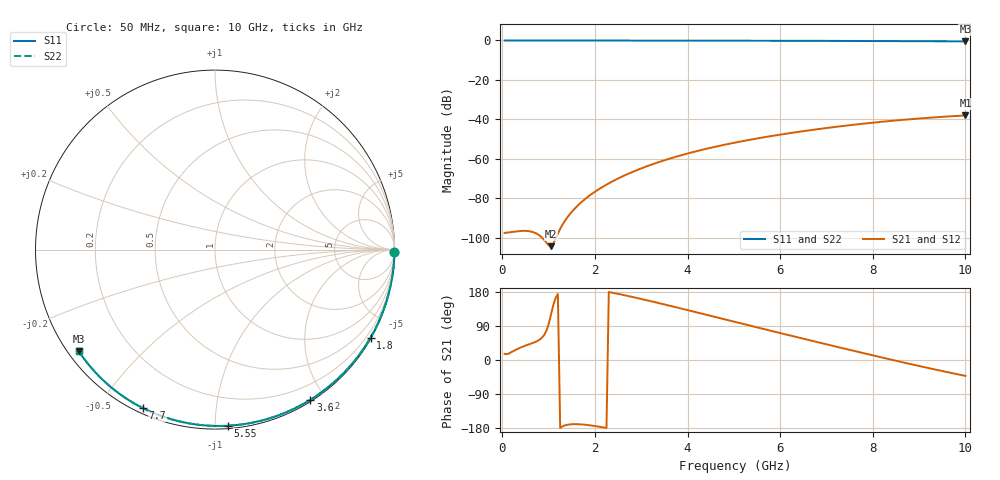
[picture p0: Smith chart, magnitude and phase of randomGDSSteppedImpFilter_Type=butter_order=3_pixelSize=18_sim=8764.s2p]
! freq	dB(S11)	phase(S11)	dB(S12)	phase(S12)
!  dB(S21)	phase(S21)	dB(S22)	phase(S22)
!S-par simulation data
#  GHz  S  DB  R 50
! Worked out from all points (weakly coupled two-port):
!   200 points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, 50 MHz to 10 GHz, reference 50 ohm
!   highest |S21| = -37.98 dB at 10 GHz (marker M1); lowest = -104.2 dB at 1.05 GHz (marker M2)
!   lowest |S11| = -0.5 dB at 10 GHz (marker M3), VSWR 36.59, Z = 1.52 - j16.5 ohm
!   |S11| at or under -10 dB: nowhere
!   |S22| runs from -0.5 to 0.0 dB; largest |S21 - S12| = 0
!   S11 on the Smith chart (normalised r, x): 50 MHz: open; 1.8 GHz: 0.03, -3.80; 3.6 GHz: 0.02, -1.82; 5.55 GHz: 0.02, -1.08; 7.7 GHz: 0.02, -0.64; 10 GHz: 0.03, -0.33
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0.05  -0.00 -0.8  -97.58 16.2  -97.58 16.2  -0.00 -0.8
0.55  -0.01 -9.1  -96.56 40.1  -96.56 40.1  -0.01 -9.1
1.05  -0.02 -17.3  -104.23 118.8  -104.23 118.8  -0.02 -17.3
1.75  -0.04 -28.7  -81.09 -170.4  -81.09 -170.4  -0.04 -28.7
1.8  -0.04 -29.5  -80.12 -171.0  -80.12 -171.0  -0.04 -29.5
2  -0.04 -32.7  -76.67 -174.2  -76.67 -174.2  -0.04 -32.7
2.15  -0.05 -35.1  -74.43 -177.2  -74.43 -177.2  -0.05 -35.1
2.5  -0.05 -40.6  -69.94 174.5  -69.94 174.5  -0.05 -40.6
2.9  -0.06 -46.9  -65.75 163.9  -65.75 163.9  -0.06 -46.9
3.4  -0.07 -54.5  -61.46 149.6  -61.46 149.6  -0.07 -54.5
3.6  -0.08 -57.5  -59.97 143.7  -59.97 143.7  -0.08 -57.5
3.9  -0.09 -62.0  -57.92 134.7  -57.92 134.7  -0.09 -62.0
4.3  -0.10 -67.9  -55.49 122.6  -55.49 122.6  -0.10 -67.9
5.05  -0.12 -78.7  -51.64 99.8  -51.64 99.8  -0.12 -78.7
5.55  -0.14 -85.7  -49.46 84.6  -49.46 84.6  -0.14 -85.7
6.1  -0.17 -93.3  -47.34 68.1  -47.34 68.1  -0.17 -93.3
6.7  -0.20 -101.3  -45.30 50.3  -45.30 50.3  -0.20 -101.3
7.2  -0.23 -107.9  -43.78 35.5  -43.78 35.5  -0.23 -107.9
7.7  -0.26 -114.3  -42.41 20.9  -42.41 20.9  -0.26 -114.3
8.35  -0.31 -122.6  -40.85 2.3  -40.85 2.3  -0.31 -122.6
9.2  -0.39 -133.4  -39.19 -21.3  -39.19 -21.3  -0.39 -133.4
10  -0.47 -143.4  -37.98 -41.9  -37.98 -41.9  -0.47 -143.4
